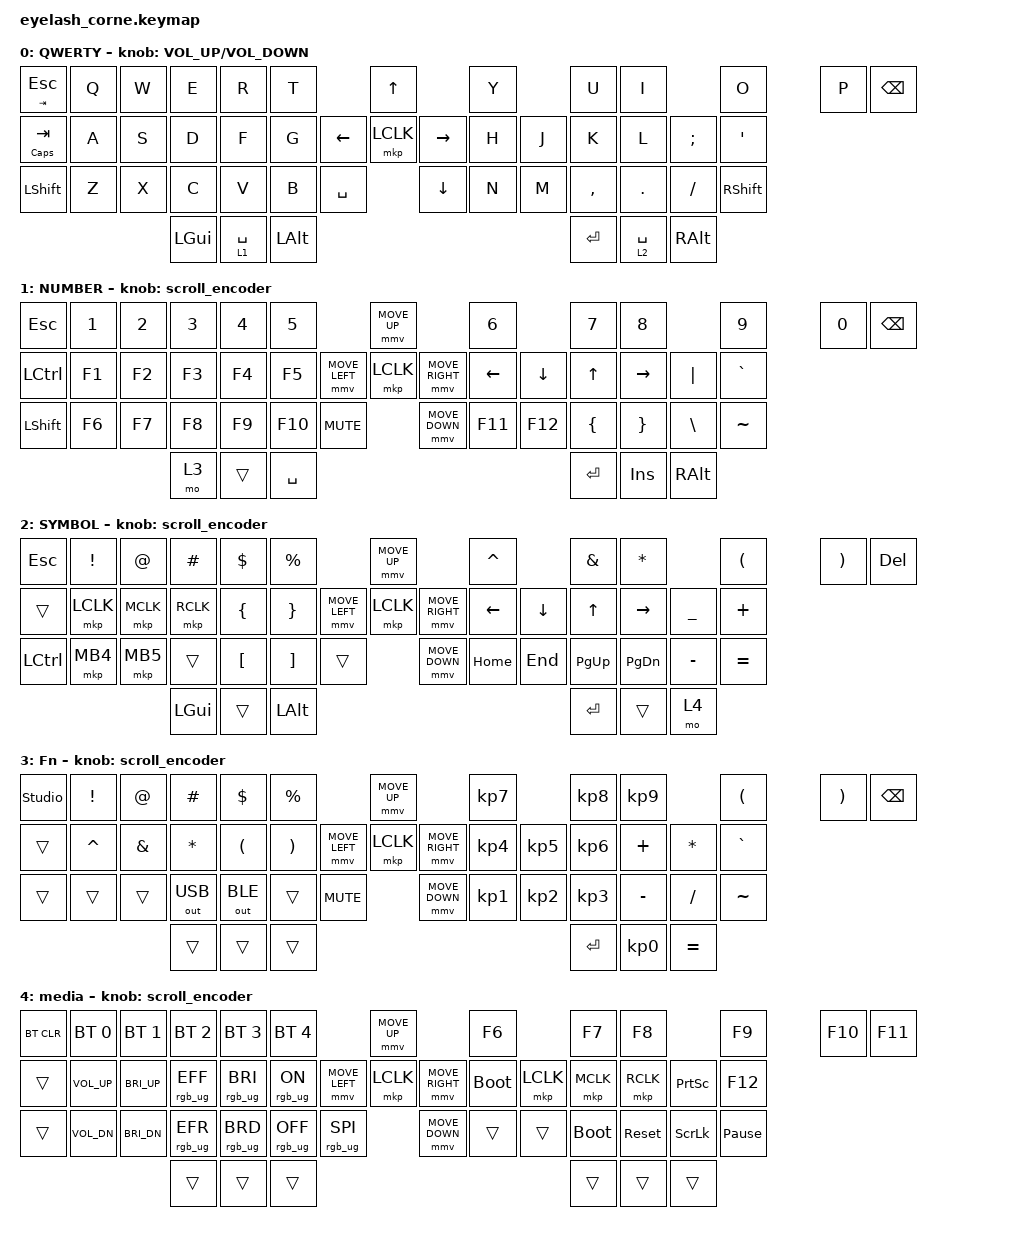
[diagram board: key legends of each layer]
#define ZMK_POINTING_DEFAULT_MOVE_VAL 1200  // 600
#define ZMK_POINTING_DEFAULT_SCRL_VAL 25   // 10

#include <input/processors.dtsi>
#include <zephyr/dt-bindings/input/input-event-codes.h>
#include <behaviors.dtsi>
#include <dt-bindings/zmk/bt.h>
#include <dt-bindings/zmk/keys.h>
#include <dt-bindings/zmk/outputs.h>
#include <dt-bindings/zmk/pointing.h>
#include <dt-bindings/zmk/rgb.h>

&mmv_input_listener { input-processors = <&zip_xy_scaler 2 1>; };

&msc_input_listener { input-processors = <&zip_scroll_scaler 2 1>; };

&msc {
    acceleration-exponent = <1>;      // 0
    time-to-max-speed-ms = <100>;       // 300
    delay-ms = <0>;                   // 0
};

&mmv {
    time-to-max-speed-ms = <500>;
    acceleration-exponent = <1>;
    trigger-period-ms = <16>;
};

/ {
    behaviors {
        td0: td0 {
            compatible = "zmk,behavior-tap-dance";
            display-name = "Shift/Caps Lock Tap Dance";
            #binding-cells = <0>;
            bindings = <&kp LEFT_SHIFT>, <&kp CAPS>;
        };
    };

    rgb_encoder: rgb_encoder {
        compatible = "zmk,behavior-sensor-rotate";
        #sensor-binding-cells = <0>;
        bindings = <&rgb_ug RGB_BRI>, <&rgb_ug RGB_BRD>;
    };

    scroll_encoder: scroll_encoder {
        compatible = "zmk,behavior-sensor-rotate";
        #sensor-binding-cells = <0>;
        bindings = <&msc SCRL_DOWN>, <&msc SCRL_UP>;

        tap-ms = <100>;
    };

    keymap {
        compatible = "zmk,keymap";

        default_layer {
            display-name = "QWERTY";
            bindings = <
&mt TAB ESC   &kp Q  &kp W  &kp E     &kp R  &kp T                               &kp UP                &kp Y        &kp U  &kp I      &kp O    &kp P     &kp BSPC
&mt CAPS TAB  &kp A  &kp S  &kp D     &kp F  &kp G                  &kp LEFT  &mkp LCLK &kp RIGHT &kp H        &kp J  &kp K      &kp L    &kp SEMI  &kp SQT
&kp LSHFT     &kp Z  &kp X  &kp C     &kp V  &kp B        &kp SPACE              &kp DOWN               &kp N        &kp M  &kp COMMA  &kp DOT  &kp FSLH  &kp RSHFT
                         &kp LGUI  &lt 1 SPACE  &kp LALT                                               &kp  ENTER  &lt 2 SPACE &kp RALT
            >;

             sensor-bindings = <&inc_dec_kp C_VOLUME_UP C_VOLUME_DOWN>;

           
        };

        lower_layer {
            display-name = "NUMBER";
            bindings = <
&kp ESC    &kp N1 &kp N2 &kp N3   &kp N4   &kp N5                                         &mmv MOVE_UP              &kp N6           &kp N7           &kp N8           &kp N9           &kp N0    &kp BSPC
&kp LCTRL  &kp F1 &kp F2 &kp F3   &kp F4   &kp F5                  &mmv MOVE_LEFT  &mkp LCLK       &mmv MOVE_RIGHT  &kp LEFT  &kp DOWN  &kp UP    &kp RIGHT &kp PIPE &kp GRAVE
&kp LSHFT  &kp F6 &kp F7 &kp F8   &kp F9   &kp F10   &kp C_MUTE                    &mmv MOVE_DOWN                   &kp F11   &kp F12   &kp LBRC  &kp RBRC  &kp BSLH &kp TILDE
                       &mo 3    &trans     &kp SPACE                                                                          &kp RET          &kp INS          &kp RALT
            >;

            sensor-bindings = <&scroll_encoder>;
        };

        raise_layer {
            display-name = "SYMBOL";
            bindings = <
&kp ESC     &kp EXCL      &kp AT        &kp HASH   &kp DLLR   &kp PRCNT                            &mmv MOVE_UP                     &kp CARET &kp AMPS  &kp ASTRK &kp LPAR  &kp RPAR   &kp DEL
&trans      &mkp LCLK     &mkp MCLK  &mkp RCLK   &kp LBRC     &kp RBRC             &mmv MOVE_LEFT  &mkp LCLK       &mmv MOVE_RIGHT  &kp LEFT  &kp DOWN  &kp UP    &kp RIGHT &kp UNDER  &kp PLUS
&kp LCTRL   &mkp MB4      &mkp MB5   &trans      &kp LBKT     &kp RBKT   &trans                    &mmv MOVE_DOWN                   &kp HOME  &kp END   &kp PG_UP &kp PG_DN &kp MINUS  &kp EQUAL
                                    &kp LGUI     &trans     &kp LALT                                                             &kp RET    &trans     &mo 4
            >;

            sensor-bindings = <&scroll_encoder>;
        };

        layer_3 {
            display-name = "Fn";
            bindings = <
&studio_unlock  &kp EXCL  &kp AT    &kp HASH  &kp DLLR &kp PRCNT                                       &mmv MOVE_UP                     &kp KP_N7 &kp KP_N8  &kp KP_N9  &kp LPAR  &kp RPAR  &kp BSPC
&trans          &kp CARET &kp AMPS  &kp ASTRK &kp LPAR &kp RPAR                        &mmv MOVE_LEFT  &mkp LCLK       &mmv MOVE_RIGHT  &kp KP_N4 &kp KP_N5  &kp KP_N6  &kp PLUS  &kp ASTRK &kp GRAVE
&trans          &trans  &trans &out OUT_USB &out OUT_BLE   &trans  &kp C_MUTE               &mmv MOVE_DOWN                   &kp KP_N1 &kp KP_N2  &kp KP_N3  &kp MINUS &kp FSLH  &kp TILDE
                                       &trans       &trans     &trans                                                                   &kp RET   &kp KP_N0  &kp EQUAL
            >;

            sensor-bindings = <&scroll_encoder>;
        };
        
        layer_4 {
            display-name = "media";
            bindings = <
&bt BT_CLR  &bt BT_SEL 0 &bt BT_SEL 1 &bt BT_SEL 2 &bt BT_SEL 3 &bt BT_SEL 4                                        &mmv MOVE_UP                     &kp F6       &kp F7     &kp F8       &kp F9      &kp F10          &kp F11
&trans      &kp C_VOL_UP &kp C_BRI_UP &rgb_ug RGB_EFF &rgb_ug RGB_BRI  &rgb_ug RGB_ON                        &mmv MOVE_LEFT  &mkp LCLK       &mmv MOVE_RIGHT  &bootloader  &mkp LCLK  &mkp MCLK    &mkp RCLK   &kp PRINTSCREEN  &kp F12
&trans      &kp C_VOL_DN &kp C_BRI_DN &rgb_ug RGB_EFR &rgb_ug RGB_BRD  &rgb_ug RGB_OFF   &rgb_ug RGB_SPI            &mmv MOVE_DOWN                   &trans       &trans     &bootloader  &sys_reset  &kp SCROLLLOCK   &kp PAUSE_BREAK
                                       &trans       &trans     &trans                                                                   &trans       &trans     &trans
            >;

            sensor-bindings = <&scroll_encoder>;
        };
    };
};
